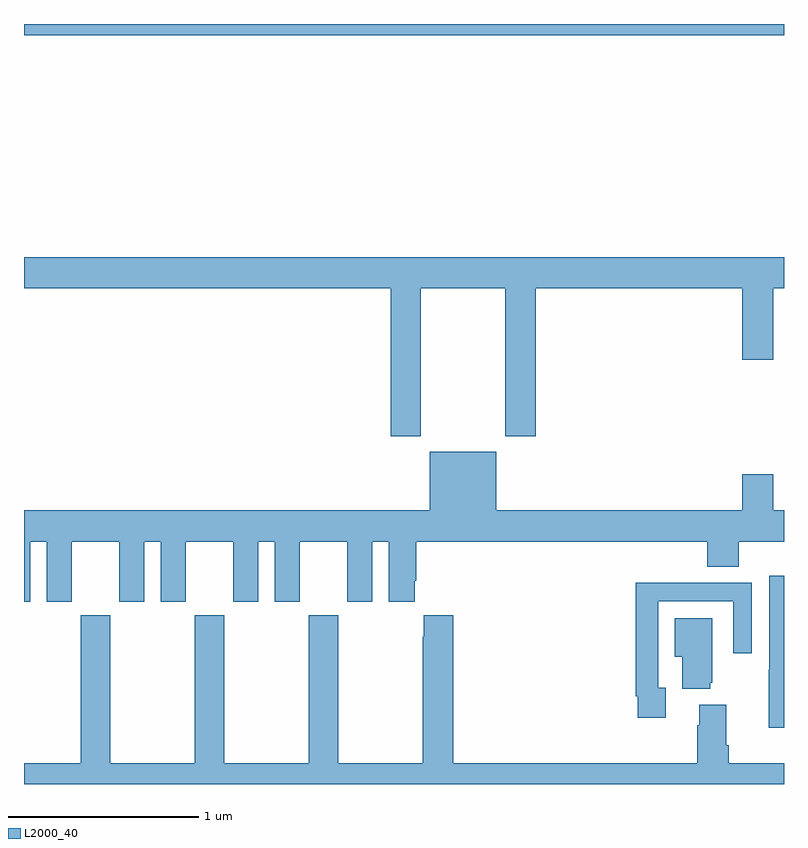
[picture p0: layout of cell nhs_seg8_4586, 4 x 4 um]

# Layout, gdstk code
import gdstk
lib = gdstk.Library(unit=1e-6, precision=1e-09)
def R(c, l, rs):  # rectangles x0, y0, x1, y1
    for r in rs: c.add(gdstk.rectangle(r[:2], r[2:], *l))
def P(c, l, *ps):  # polygons
    for p in ps: c.add(gdstk.Polygon(p, *l))
L2000_40 = (2000, 40)

nhs_seg8_4586 = lib.new_cell('nhs_seg8_4586')
R(nhs_seg8_4586, L2000_40, [(389,1109.84,393,1109.9)])
P(nhs_seg8_4586, L2000_40, [(391.089,1108.508),(391.534,1108.508),(391.534,1107.729),(391.694,1107.729),(391.694,1108.508),(392.78,1108.508),(392.78,1108.134),(392.944,1108.134),(392.944,1108.508),(393,1108.508),(393,1108.672),(389,1108.672),(389,1108.508),(390.929,1108.508),(390.929,1107.729),(391.089,1107.729)],
  [(389.032,1107.176),(389.12,1107.176),(389.12,1106.859),(389.251,1106.859),(389.251,1107.176),(389.501,1107.176),(389.501,1106.859),(389.632,1106.859),(389.632,1107.176),(389.72,1107.176),(389.72,1106.859),(389.851,1106.859),(389.851,1107.176),(390.101,1107.176),(390.101,1106.859),(390.232,1106.859),(390.232,1107.176),(390.32,1107.176),(390.32,1106.859),(390.451,1106.859),(390.451,1107.176),(390.701,1107.176),(390.701,1106.859),(390.832,1106.859),(390.832,1107.176),(390.92,1107.176),(390.92,1106.859),(391.057,1106.859),(391.057,1106.971),(391.064,1106.971),(391.064,1107.176),(392.597,1107.176),(392.597,1107.043),(392.762,1107.043),(392.762,1107.176),(393,1107.176),(393,1107.34),(392.944,1107.34),(392.944,1107.529),(392.78,1107.529),(392.78,1107.34),(391.486,1107.34),(391.486,1107.649),(391.136,1107.649),(391.136,1107.34),(389,1107.34),(389,1106.859),(389.032,1106.859)],
  [(393,1106.995),(392.922,1106.995),(392.922,1106.501),(392.92,1106.501),(392.92,1106.195),(393,1106.195)],
  [(392.377,1106.406),(392.337,1106.406),(392.337,1106.862),(392.733,1106.862),(392.733,1106.589),(392.829,1106.589),(392.829,1106.958),(392.513,1106.958),(392.513,1106.96),(392.221,1106.96),(392.221,1106.362),(392.229,1106.362),(392.229,1106.25),(392.377,1106.25)],
  [(393,1106.008),(392.708,1106.008),(392.708,1106.104),(392.695,1106.104),(392.695,1106.317),(392.555,1106.317),(392.555,1106.21),(392.543,1106.21),(392.543,1106.008),(391.259,1106.008),(391.259,1106.788),(391.103,1106.788),(391.103,1106.675),(391.099,1106.675),(391.099,1106.008),(390.654,1106.008),(390.654,1106.788),(390.499,1106.788),(390.499,1106.008),(390.054,1106.008),(390.054,1106.788),(389.899,1106.788),(389.899,1106.008),(389.454,1106.008),(389.454,1106.788),(389.299,1106.788),(389.299,1106.008),(389,1106.008),(389,1105.9),(393,1105.9)],
  [(392.612,1106.433),(392.623,1106.433),(392.623,1106.773),(392.426,1106.773),(392.426,1106.57),(392.465,1106.57),(392.465,1106.402),(392.612,1106.402)])

lib.write_gds('nhs_seg8_4586.gds')
